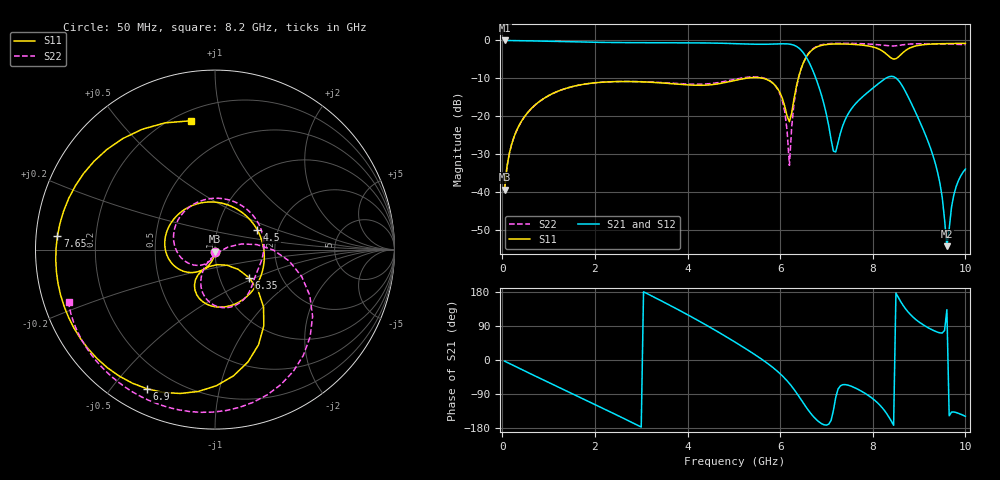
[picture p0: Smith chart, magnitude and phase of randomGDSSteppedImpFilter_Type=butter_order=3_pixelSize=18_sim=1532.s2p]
! freq	dB(S11)	phase(S11)	dB(S12)	phase(S12)
!  dB(S21)	phase(S21)	dB(S22)	phase(S22)
!S-par simulation data
#  GHz  S  DB  R 50
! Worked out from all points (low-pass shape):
!   200 points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, 50 MHz to 10 GHz, reference 50 ohm
!   highest |S21| = -0.01 dB at 50 MHz (marker M1); lowest = -54.3 dB at 9.6 GHz (marker M2)
!   |S21| within 3 dB of the highest: start of sweep to 6.483 GHz
!   lowest |S11| = -39.3 dB at 50 MHz (marker M3), VSWR 1.02, Z = 50 - j1.08 ohm
!   |S11| at or under -10 dB: start of sweep to 5.254 GHz; 5.627 GHz to 6.392 GHz (764.8 MHz wide, 12.7 % of centre)
!   |S22| runs from -39.4 to -0.7 dB; largest |S21 - S12| = 0
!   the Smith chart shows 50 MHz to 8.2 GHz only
!   S11 on the Smith chart (normalised r, x): 50 MHz: 1.00, -0.02; 4.5 GHz: 1.56, +0.37; 6.35 GHz: 1.38, -0.46; 6.9 GHz: 0.10, -0.62; 7.65 GHz: 0.06, +0.04; 8.2 GHz: 0.26, +0.80
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0.05  -39.34 -91.2  -0.01 -3.0  -0.01 -3.0  -39.36 -92.6
0.5  -19.79 -114.0  -0.09 -29.8  -0.09 -29.8  -19.81 -126.5
1.75  -11.58 -169.1  -0.44 -102.9  -0.44 -102.9  -11.60 142.0
3.4  -11.18 117.1  -0.62 158.2  -0.62 158.2  -11.09 19.0
4.5  -11.70 25.0  -0.69 85.4  -0.69 85.4  -11.39 -34.1
5.05  -10.47 -35.0  -0.86 45.5  -0.86 45.5  -10.19 -54.1
5.95  -12.80 -119.9  -0.92 -30.8  -0.92 -30.8  -12.97 -110.1
6.1  -17.41 -121.4  -0.88 -48.3  -0.88 -48.3  -18.84 -120.9
6.2  -21.44 -81.6  -0.97 -62.0  -0.97 -62.0  -32.96 -55.5
6.35  -12.15 -39.5  -1.55 -86.1  -1.55 -86.1  -12.59 6.8
6.7  -2.40 -89.4  -7.78 -146.7  -7.78 -146.7  -2.29 -50.2
6.9  -1.28 -116.1  -14.76 -168.4  -14.76 -168.4  -1.14 -75.8
7.2  -0.93 -146.4  -29.43 -98.8  -29.43 -98.8  -0.77 -102.9
7.65  -1.10 175.1  -16.41 -75.5  -16.41 -75.5  -0.81 -132.0
8.2  -2.73 100.4  -10.65 -125.4  -10.65 -125.4  -1.24 -160.2
8.35  -4.19 52.4  -9.58 -150.9  -9.58 -150.9  -1.43 -166.2
8.5  -4.82 -21.4  -9.89 176.5  -9.89 176.5  -1.41 -171.0
8.7  -2.73 -102.6  -13.35 136.3  -13.35 136.3  -1.07 -179.4
8.95  -1.40 -151.4  -19.66 104.8  -19.66 104.8  -0.88 167.8
9.35  -0.91 170.7  -32.44 75.8  -32.44 75.8  -0.89 147.4
9.6  -0.83 154.9  -54.29 132.8  -54.29 132.8  -0.95 134.5
10  -0.78 134.2  -33.95 -148.6  -33.95 -148.6  -1.13 112.4
